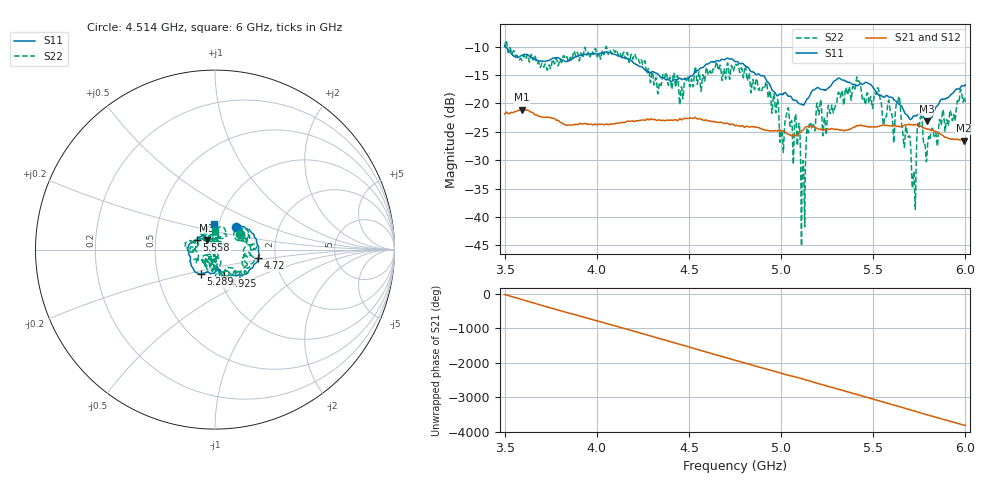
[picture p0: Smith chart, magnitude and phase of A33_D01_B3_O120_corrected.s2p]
! Created with skrf 1.9.0 (http://scikit-rf.org).
# Hz S RI R 50.0
!freq ReS11 ImS11 ReS21 ImS21 ReS12 ImS12 ReS22 ImS22
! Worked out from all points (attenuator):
!   1601 points, 3.5 GHz to 6 GHz, reference 50 ohm
!   highest |S21| = -21.09 dB at 3.592 GHz (marker M1); lowest = -26.6 dB at 5.992 GHz (marker M2)
!   lowest |S11| = -23.1 dB at 5.791 GHz (marker M3), VSWR 1.15, Z = 45.5 + j4.92 ohm
!   |S11| at or under -10 dB: 3.504 GHz to end of sweep
!   |S22| runs from -45.2 to -8.9 dB; largest |S21 - S12| = 0.0012
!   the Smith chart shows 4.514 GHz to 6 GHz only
!   S11 on the Smith chart (normalised r, x): 4.514 GHz: 1.22, +0.32; 4.72 GHz: 1.62, -0.17; 4.925 GHz: 1.05, -0.32; 5.289 GHz: 0.82, -0.23; 5.558 GHz: 0.82, +0.09; 6 GHz: 0.95, +0.28
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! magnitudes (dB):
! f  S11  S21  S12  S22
! 3.5 GHz  -9.9  -21.9  -21.9  -10.2
! 3.592 GHz  -11.6  -21.1  -21.1  -12.4
! 3.917 GHz  -11.6  -23.6  -23.6  -11.2
! 4.334 GHz  -14.9  -23.0  -22.9  -17.8
! 4.514 GHz  -15.2  -22.6  -22.6  -15.7
! 4.72 GHz  -12.2  -23.7  -23.8  -15.8
! 4.75 GHz  -12.6  -23.9  -23.9  -13.1
! 4.925 GHz  -16.2  -24.7  -24.8  -17.2
! 5.003 GHz  -18.4  -24.9  -24.9  -24.7
! 5.089 GHz  -19.8  -25.5  -25.5  -27.3
! 5.119 GHz  -20.3  -24.7  -24.6  -30.1
! 5.167 GHz  -17.8  -24.1  -24.1  -24.4
! 5.289 GHz  -16.1  -24.5  -24.6  -21.1
! 5.419 GHz  -16.9  -23.9  -23.9  -16.0
! 5.558 GHz  -18.9  -23.8  -23.8  -23.6
! 5.584 GHz  -18.9  -24.0  -24.0  -19.4
! 5.638 GHz  -20.1  -24.0  -24.0  -19.0
! 5.719 GHz  -22.2  -23.8  -23.7  -32.5
! 5.752 GHz  -21.9  -24.0  -23.9  -23.5
! 5.791 GHz  -23.1  -24.5  -24.5  -29.7
! 5.992 GHz  -16.9  -26.6  -26.6  -19.2
! 6 GHz  -16.8  -26.6  -26.6  -19.7
